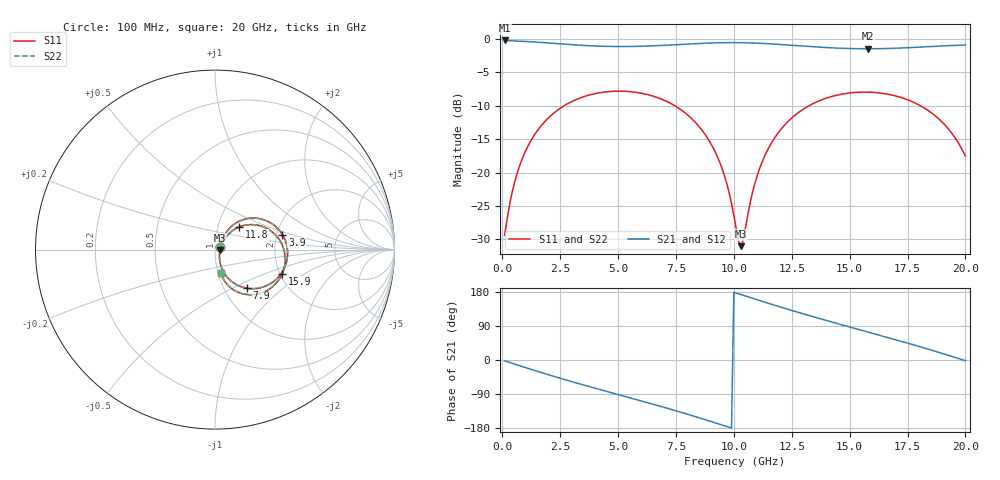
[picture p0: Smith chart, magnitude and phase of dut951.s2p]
! Touchstone file exported from HFSS 2026.1.0
!  File:  C:/ffzhzh/LocalFiles/Ansys_Project_Files/temp_train_TSV_RDL_951_1783283090_39728.aedt
!  Generated:  04:37:00 AM Jul  6, 2026
!  Design:  TSV_RDL
!  Project:  temp_train_TSV_RDL_951_1783283090_39728
! Variables:
!  h_bsmrdl = 3.17um
!  h_ox = 20um
!  h_rdl = 5um
!  h_sub = 84.61um
!  h_tmrdl = 5.09um
!  h_tsv = 84.61um
!  h_via = 3um
!  l_bsmrdl = 548.88um
!  l_sub = 5974.42um
!  l_tmrdl = 955.32um
!  m_sub = 200um
!  pitch = 38.27um
!  r_tsv = 10.32um
!  s_tmrdl = 10um
!  w_bsmrdl = 10.05um
!  w_sub = 500um
!  w_tmrdl = 25.45um
!  x_tsv_center1 = 968.045um
!  x_tsv_center2 = 1526.975um
!  x_tsv_center3 = 2507.745um
!  x_tsv_center4 = 3066.675um
!  x_tsv_center5 = 4047.445um
!  x_tsv_center6 = 4606.375um
# GHz S MA R 50.000000
! Terminal data exported
! Port[1] = TM_RDL1_1_T1
! Port[2] = TM_RDL5_1_T1
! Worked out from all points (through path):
!   200 points, 100 MHz to 20 GHz, reference 50 ohm
!   highest |S21| = -0.26 dB at 100 MHz (marker M1); lowest = -1.5 dB at 15.8 GHz (marker M2)
!   group delay of S21, straight-line fit = 50 ps
!   lowest |S11| = -31.0 dB at 10.3 GHz (marker M3), VSWR 1.06, Z = 52.9 - j0.521 ohm
!   |S11| at or under -10 dB: start of sweep to 2.678 GHz; 7.439 GHz to 13.25 GHz (5.815 GHz wide, 56.2 % of centre); 18.05 GHz to end of sweep
!   |S22| runs from -30.8 to -7.8 dB; largest |S21 - S12| = 1.4e-12
!   S11 on the Smith chart (normalised r, x): 100 MHz: 1.06, +0.03; 3.9 GHz: 2.15, +0.42; 7.9 GHz: 1.28, -0.59; 11.8 GHz: 1.27, +0.33; 15.9 GHz: 2.06, -0.65; 20 GHz: 1.03, -0.27
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0.1  0.03398 26.5  0.9701 -2.1  0.9701 -2.1  0.03398 26.5
! Gamma 0 0 0 0
! Port Impedance 50 0 50 0
0.6  0.09331 56.5  0.962 -12.2  0.962 -12.2  0.09331 56.5
1.2  0.1686 53.8  0.95 -23.9  0.95 -23.9  0.1686 53.8
2.2  0.2759 39.6  0.9234 -42.7  0.9234 -42.7  0.2759 39.6
3.5  0.3679 18.9  0.8908 -65.7  0.8908 -65.7  0.3679 18.9
3.9  0.3849 12.6  0.8837 -72.6  0.8837 -72.6  0.3849 12.6
5.4  0.4036 -10.9  0.8742 -97.7  0.8742 -97.7  0.4036 -10.9
6.8  0.3577 -33.0  0.8891 -121.6  0.8891 -121.6  0.3577 -33.0
7.9  0.2786 -50.5  0.9101 -141.2  0.9101 -141.2  0.2786 -50.4
9.3  0.1301 -69.2  0.9319 -167.7  0.9319 -167.7  0.1302 -69.0
9.7  0.08205 -69.2  0.9344 -175.5  0.9344 -175.5  0.08219 -68.7
10.1  0.03811 -49.1  0.9345 176.6  0.9345 176.6  0.03854 -48.4
10.3  0.02817 -10.1  0.9337 172.7  0.9337 172.7  0.02883 -9.9
11  0.09379 48.9  0.9261 159.1  0.9261 159.1  0.09409 48.5
11.8  0.1856 43.0  0.9102 143.8  0.9102 143.8  0.1858 42.8
13.4  0.3261 19.0  0.8706 114.6  0.8706 114.6  0.3262 18.9
14.6  0.3832 0.4  0.8485 94.0  0.8485 94.0  0.3834 0.3
15.8  0.3987 -18.0  0.8409 73.8  0.8409 73.8  0.3988 -18.1
15.9  0.3981 -19.6  0.841 72.1  0.841 72.1  0.3982 -19.6
16.7  0.3833 -31.8  0.8456 58.6  0.8456 58.6  0.3834 -31.9
18.7  0.2652 -62.4  0.8774 23.0  0.8774 23.0  0.2652 -62.4
20  0.1326 -76.2  0.8966 -1.9  0.8966 -1.9  0.1326 -76.2
